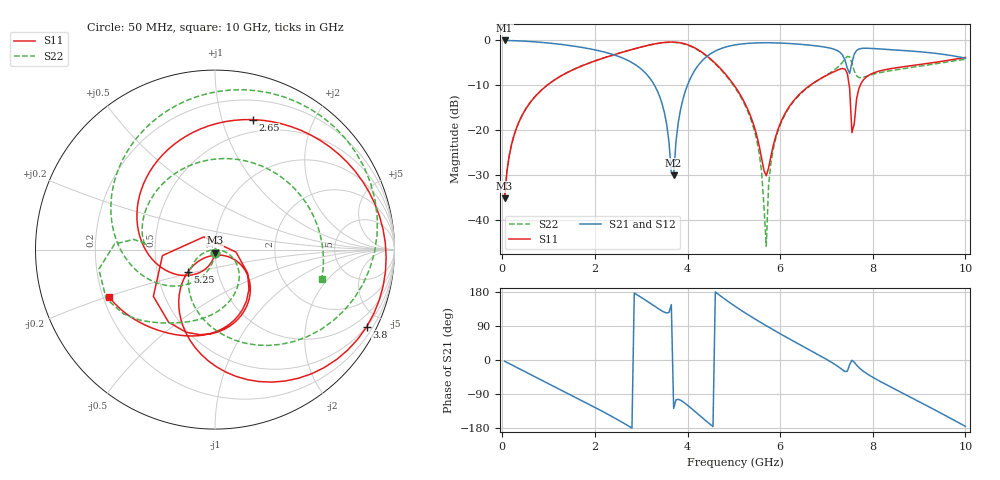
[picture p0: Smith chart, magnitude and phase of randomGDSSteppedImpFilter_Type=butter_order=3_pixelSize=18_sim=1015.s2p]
! freq	dB(S11)	phase(S11)	dB(S12)	phase(S12)
!  dB(S21)	phase(S21)	dB(S22)	phase(S22)
!S-par simulation data
#  GHz  S  DB  R 50
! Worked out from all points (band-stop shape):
!   200 points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, 50 MHz to 10 GHz, reference 50 ohm
!   highest |S21| = -0.01 dB at 50 MHz (marker M1); lowest = -30.0 dB at 3.7 GHz (marker M2)
!   |S21| within 3 dB of the highest: start of sweep to 2.351 GHz; 4.492 GHz to 7.325 GHz (2.833 GHz wide, 48 % of centre) (the widest 2 of 3)
!   lowest |S11| = -35.1 dB at 50 MHz (marker M3), VSWR 1.04, Z = 49.9 - j1.74 ohm
!   |S11| at or under -10 dB: start of sweep to 965.3 MHz; 5.008 GHz to 6.643 GHz (1.636 GHz wide, 28.1 % of centre); 7.491 GHz to 7.729 GHz (238.6 MHz wide, 3.14 % of centre)
!   |S22| runs from -45.8 to -0.4 dB; largest |S21 - S12| = 0
!   S11 on the Smith chart (normalised r, x): 50 MHz: 1.00, -0.03; 2.65 GHz: 0.38, +1.26; 3.8 GHz: 0.48, -4.11; 5.25 GHz: 0.72, -0.18; 10 GHz: 0.22, -0.20
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0.05  -35.14 -93.6  -0.01 -3.2  -0.01 -3.2  -35.14 -92.5
0.2  -23.15 -105.1  -0.04 -12.7  -0.04 -12.7  -23.13 -100.6
0.5  -15.37 -127.6  -0.17 -31.5  -0.17 -31.5  -15.33 -116.5
1.75  -5.53 140.9  -1.61 -109.1  -1.61 -109.1  -5.51 179.2
2.65  -2.45 73.8  -4.14 -168.7  -4.14 -168.7  -2.45 126.4
3.4  -0.58 11.5  -12.52 133.1  -12.52 133.1  -0.60 66.0
3.7  -0.38 -17.1  -29.98 -127.9  -29.98 -127.9  -0.42 34.5
3.8  -0.46 -27.0  -18.28 -103.7  -18.28 -103.7  -0.51 23.0
4.4  -3.30 -85.1  -3.71 -160.8  -3.71 -160.8  -3.41 -49.2
5.05  -10.63 -131.2  -0.96 139.8  -0.96 139.8  -10.89 -119.4
5.25  -14.21 -140.7  -0.70 123.9  -0.70 123.9  -14.59 -138.7
5.55  -23.58 -139.4  -0.53 101.2  -0.53 101.2  -25.25 -165.9
5.7  -30.09 -81.7  -0.52 90.4  -0.52 90.4  -45.76 -11.1
5.75  -28.37 -54.0  -0.52 86.8  -0.52 86.8  -32.32 -6.0
5.9  -21.50 -28.1  -0.55 76.2  -0.55 76.2  -22.00 -17.7
6.7  -9.59 -54.8  -1.12 22.2  -1.12 22.2  -9.69 -82.6
7.4  -6.38 -122.6  -4.35 -30.5  -4.35 -30.5  -4.12 -144.7
7.55  -20.51 131.3  -4.96 -0.8  -4.96 -0.8  -5.03 176.9
7.75  -9.50 -58.4  -1.79 -25.3  -1.79 -25.3  -8.28 176.7
8.35  -6.34 -98.2  -2.03 -68.7  -2.03 -68.7  -6.78 138.5
9.15  -5.18 -125.5  -2.65 -119.4  -2.65 -119.4  -5.54 65.6
10  -3.79 -155.8  -3.94 -175.1  -3.94 -175.1  -4.19 -15.2
